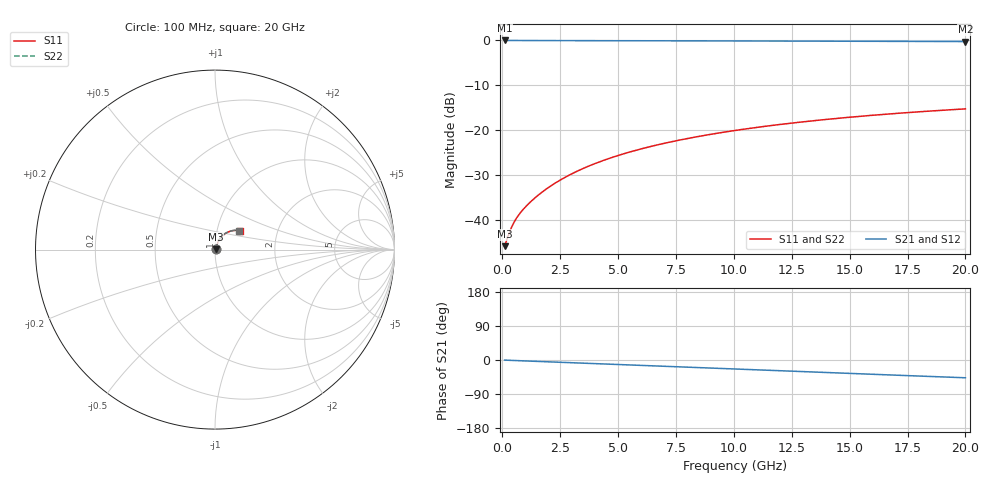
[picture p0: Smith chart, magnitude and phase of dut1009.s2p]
! Touchstone file exported from HFSS 2026.1.0
!  File:  C:/ffzhzh/LocalFiles/Ansys_Project_Files/temp_train_TMRDL_1009_1783159677_43440.aedt
!  Generated:  06:09:06 PM Jul  4, 2026
!  Design:  TMRDL
!  Project:  temp_train_TMRDL_1009_1783159677_43440
! Variables:
!  h_bsmrdl = 2um
!  h_ox = 20um
!  h_rdl = 5um
!  h_sub = 80um
!  h_tmrdl = 2.31um
!  h_tsv = 80um
!  h_via = 3um
!  l_bsmrdl = 300um
!  l_sub = 1202.64um
!  l_tmrdl = 802.64um
!  m_sub = 200um
!  pitch = 35.1um
!  r_tsv = 6um
!  s_tmrdl = 10um
!  w_bsmrdl = 18um
!  w_sub = 500um
!  w_tmrdl = 27.27um
!  x_tsv_center1 = 816.275um
!  x_tsv_center2 = 1134.275um
!  x_tsv_center3 = 1964.185um
!  x_tsv_center4 = 2282.185um
!  x_tsv_center5 = 3112.095um
!  x_tsv_center6 = 3430.095um
# GHz S MA R 50.000000
! Terminal data exported
! Port[1] = TM_RDL1_1_T1
! Port[2] = TM_RDL1_1_T2
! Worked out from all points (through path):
!   200 points, 100 MHz to 20 GHz, reference 50 ohm
!   highest |S21| = -0.04 dB at 100 MHz (marker M1); lowest = -0.3 dB at 20 GHz (marker M2)
!   group delay of S21, straight-line fit = 6.51 ps
!   lowest |S11| = -45.8 dB at 100 MHz (marker M3), VSWR 1.01, Z = 50.5 + j0.165 ohm
!   |S11| at or under -10 dB: start of sweep to end of sweep
!   |S22| runs from -45.8 to -15.3 dB; largest |S21 - S12| = 2.1e-15
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0.1  0.005144 18.5  0.9951 -0.3  0.9951 -0.3  0.005144 18.5
! Gamma 0 0 0 0
! Port Impedance 50 0 50 0
0.3  0.00721 38.8  0.9944 -0.8  0.9944 -0.8  0.00721 38.8
0.4  0.008342 43.3  0.994 -1.1  0.994 -1.1  0.008342 43.3
0.5  0.00941 46.4  0.9936 -1.3  0.9936 -1.3  0.009409 46.4
0.6  0.01041 48.7  0.9933 -1.5  0.9933 -1.5  0.01041 48.7
0.8  0.01227 52.3  0.9928 -2.0  0.9928 -2.0  0.01227 52.3
1.1  0.01493 56.6  0.9923 -2.7  0.9923 -2.7  0.01493 56.6
1.3  0.01671 59.0  0.9921 -3.2  0.9921 -3.2  0.0167 59.0
1.6  0.01943 61.7  0.9919 -3.9  0.9919 -3.9  0.01942 61.8
2.2  0.02504 65.3  0.9915 -5.3  0.9915 -5.3  0.02503 65.4
2.8  0.03082 67.2  0.9911 -6.8  0.9911 -6.8  0.03081 67.2
3.5  0.03766 68.1  0.9906 -8.4  0.9906 -8.4  0.03765 68.2
4.2  0.04453 68.2  0.99 -10.1  0.99 -10.1  0.04451 68.2
5  0.05236 67.6  0.9893 -12.0  0.9893 -12.0  0.05234 67.7
5.9  0.06109 66.6  0.9884 -14.2  0.9884 -14.2  0.06106 66.7
6.8  0.0697 65.2  0.9873 -16.3  0.9873 -16.3  0.06966 65.4
8.3  0.08369 62.5  0.9854 -19.8  0.9854 -19.8  0.08364 62.7
10.1  0.09982 58.9  0.9829 -24.1  0.9829 -24.1  0.09974 59.2
11.7  0.1135 55.6  0.9805 -27.8  0.9805 -27.8  0.1134 55.9
13.4  0.1272 51.9  0.9779 -31.8  0.9779 -31.8  0.1271 52.3
16.7  0.1516 44.7  0.9727 -39.4  0.9727 -39.4  0.1514 45.2
20  0.1727 37.5  0.9677 -46.9  0.9677 -46.9  0.1725 38.1
